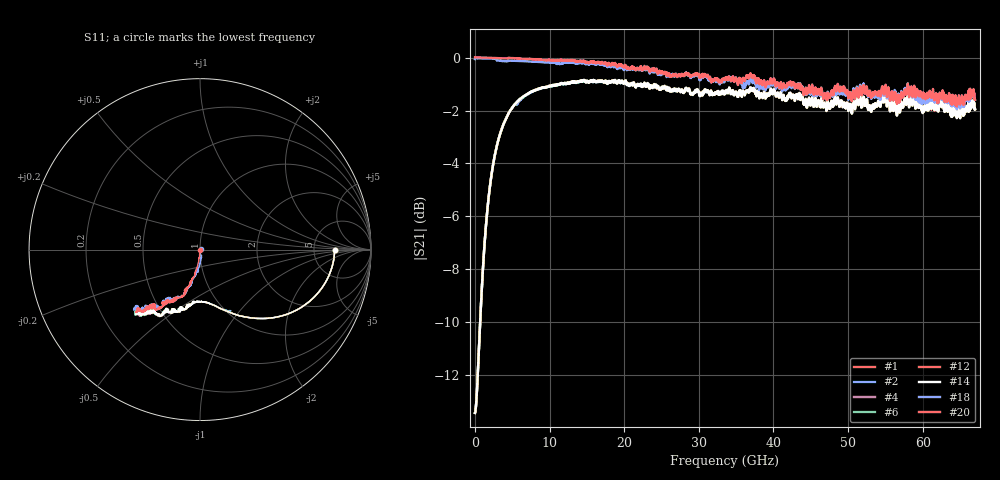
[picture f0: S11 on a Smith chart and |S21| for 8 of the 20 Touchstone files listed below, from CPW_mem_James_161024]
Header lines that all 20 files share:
!Keysight Technologies,N5227A,US51270248,A.10.65.08
!Correction: S11(Full 2 Port(1,4))
!S41(Full 2 Port(1,4))
!S14(Full 2 Port(1,4))
!S44(Full 2 Port(1,4))
!S2P File: Measurements: S11, S41, S14, S44:
# Hz S  dB  R 50
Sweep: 10 MHz to 67 GHz
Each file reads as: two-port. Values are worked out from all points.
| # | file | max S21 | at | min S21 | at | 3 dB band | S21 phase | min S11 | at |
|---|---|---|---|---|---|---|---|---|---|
| 1 | wafer2_r2_c1_formed_Vdc0_1.s2p | -0.84 dB | 15.88 GHz | -13.4 dB | 10 MHz | 2.564 GHz-67 GHz | -34 deg at 33.51 GHz | -10.4 dB | 16.99 GHz |
| 2 | wafer2_r2_c1_formed_Vdc0_2.s2p | -0.85 dB | 15.88 GHz | -13.4 dB | 10 MHz | 2.564 GHz-67 GHz | -34 deg at 33.51 GHz | -10.4 dB | 16.99 GHz |
| 3 | wafer2_r2_c1_formed_Vdc0_3.s2p | -0.84 dB | 15.88 GHz | -13.4 dB | 10 MHz | 2.564 GHz-67 GHz | -34 deg at 33.51 GHz | -10.4 dB | 16.99 GHz |
| 4 | wafer2_r2_c1_formed_Vdc0_4.s2p | -0.84 dB | 15.88 GHz | -13.4 dB | 10 MHz | 2.585 GHz-67 GHz | -34 deg at 33.51 GHz | -10.4 dB | 16.99 GHz |
| 5 | wafer2_r2_c1_formed_Vdc0_5.s2p | -0.84 dB | 15.88 GHz | -13.4 dB | 10 MHz | 2.564 GHz-67 GHz | -34 deg at 33.51 GHz | -10.4 dB | 16.99 GHz |
| 6 | wafer2_r2_c1_formed_Vdc0_6.s2p | -0.84 dB | 15.88 GHz | -13.4 dB | 10 MHz | 2.564 GHz-67 GHz | -35 deg at 33.51 GHz | -10.4 dB | 16.97 GHz |
| 7 | wafer2_r2_c1_formed_Vdc0_7.s2p | -0.84 dB | 15.88 GHz | -13.4 dB | 10 MHz | 2.564 GHz-67 GHz | -35 deg at 33.51 GHz | -10.4 dB | 16.97 GHz |
| 8 | wafer2_r2_c1_formed_Vdc0_8.s2p | -0.83 dB | 15.88 GHz | -13.4 dB | 10 MHz | 2.564 GHz-67 GHz | -35 deg at 33.51 GHz | -10.4 dB | 16.97 GHz |
| 9 | wafer2_r2_c1_formed_Vdc0_9.s2p | -0.83 dB | 15.88 GHz | -13.4 dB | 10 MHz | 2.564 GHz-67 GHz | -35 deg at 33.51 GHz | -10.4 dB | 16.97 GHz |
| 10 | wafer2_r2_c1_formed_Vdc0_10.s2p | -0.84 dB | 15.88 GHz | -13.4 dB | 10 MHz | 2.564 GHz-67 GHz | -35 deg at 33.51 GHz | -10.4 dB | 16.97 GHz |
| 11 | wafer2_r2_c1_formed_Vdc0_11.s2p | -0.84 dB | 15.88 GHz | -13.4 dB | 10 MHz | 2.585 GHz-67 GHz | -34 deg at 33.51 GHz | -10.4 dB | 16.99 GHz |
| 12 | wafer2_r2_c1_formed_Vdc0_12.s2p | -0.85 dB | 15.88 GHz | -13.4 dB | 10 MHz | 2.564 GHz-67 GHz | -35 deg at 33.51 GHz | -10.4 dB | 16.99 GHz |
| 13 | wafer2_r2_c1_formed_Vdc0_13.s2p | -0.85 dB | 15.88 GHz | -13.4 dB | 10 MHz | 2.564 GHz-67 GHz | -35 deg at 33.51 GHz | -10.4 dB | 16.99 GHz |
| 14 | wafer2_r2_c1_formed_Vdc0_14.s2p | -0.85 dB | 15.88 GHz | -13.4 dB | 10 MHz | 2.564 GHz-67 GHz | -35 deg at 33.51 GHz | -10.4 dB | 16.97 GHz |
| 15 | wafer2_r2_c1_formed_Vdc0_15.s2p | -0.83 dB | 15.88 GHz | -13.4 dB | 10 MHz | 2.564 GHz-67 GHz | -35 deg at 33.51 GHz | -10.4 dB | 16.97 GHz |
| 16 | wafer2_r2_c1_formed_Vdc0_16.s2p | -0.84 dB | 15.88 GHz | -13.4 dB | 10 MHz | 2.564 GHz-67 GHz | -35 deg at 33.51 GHz | -10.4 dB | 16.97 GHz |
| 17 | wafer2_r2_c1_formed_Vdc0_17.s2p | -0.83 dB | 15.88 GHz | -13.4 dB | 10 MHz | 2.564 GHz-67 GHz | -35 deg at 33.51 GHz | -10.4 dB | 16.97 GHz |
| 18 | wafer2_r10_c1_thru.s2p | -0.01 dB | 240.3 MHz | -2.0 dB | 64.57 GHz | 10 MHz-67 GHz | -37 deg at 33.51 GHz | -55.1 dB | 51.87 MHz |
| 19 | wafer2_r10_c2_thru.s2p | 0.01 dB | 30.93 MHz | -1.9 dB | 64.57 GHz | 10 MHz-67 GHz | -37 deg at 33.51 GHz | -62.4 dB | 114.7 MHz |
| 20 | wafer2_r10_c3_thru.s2p | 0.02 dB | 10 MHz | -1.8 dB | 64.57 GHz | 10 MHz-67 GHz | -37 deg at 33.51 GHz | -54.9 dB | 10 MHz |
